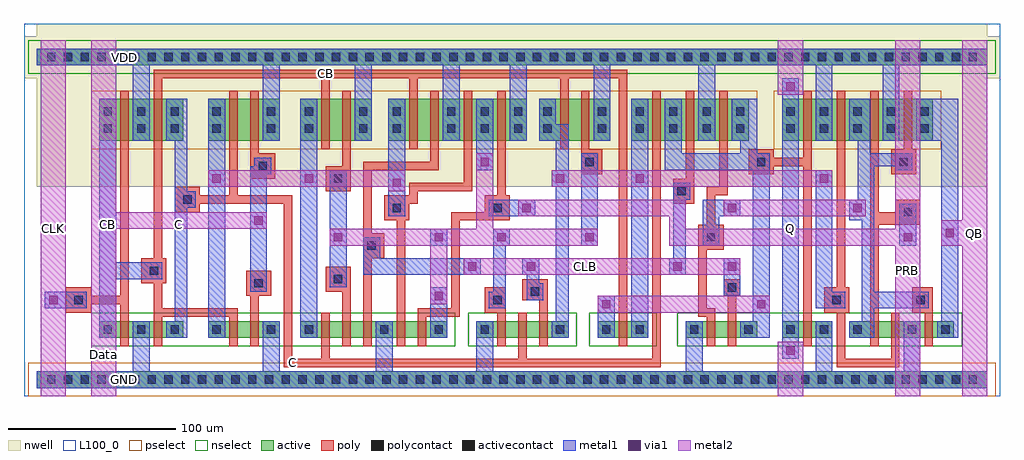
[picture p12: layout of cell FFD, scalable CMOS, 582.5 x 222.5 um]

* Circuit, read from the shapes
.subckt FFD C CB CLB CLK Data GND PRB Q QB VDD
M1 GND CLK CB GND nfet w=10u l=5u
M2 C CB GND GND nfet w=10u l=5u
M3 n1 CB n2 GND nfet w=10u l=5u
M4 GND Data n1 GND nfet w=10u l=5u
M5 n3 C n2 GND nfet w=10u l=5u
M6 n4 n5 n3 GND nfet w=10u l=5u
M7 GND CLB n4 GND nfet w=10u l=5u
M8 n6 n2 GND GND nfet w=10u l=5u
M9 n5 PRB n6 GND nfet w=10u l=5u
M10 n7 n5 GND GND nfet w=10u l=5u
M11 n8 C n7 GND nfet w=10u l=5u
M12 n9 CLB n8 GND nfet w=10u l=5u
M13 n9 CB n10 GND nfet w=10u l=5u
M14 n11 n12 GND GND nfet w=10u l=5u
M15 n10 CLB n11 GND nfet w=10u l=5u
M16 GND n10 Q GND nfet w=10u l=5u
M17 n13 PRB n12 GND nfet w=10u l=5u
M18 GND n9 n13 GND nfet w=10u l=5u
M19 QB n12 GND GND nfet w=10u l=5u
M20 VDD CLK CB VDD pfet w=25u l=5u
M21 C CB VDD VDD pfet w=25u l=5u
M22 n14 C n2 VDD pfet w=25u l=5u
M23 VDD Data n14 VDD pfet w=25u l=5u
M24 n15 CB n2 VDD pfet w=25u l=5u
M25 VDD n5 n15 VDD pfet w=25u l=5u
M26 n16 CB n2 VDD pfet w=25u l=5u
M27 VDD CLB n16 VDD pfet w=25u l=5u
M28 n5 n2 VDD VDD pfet w=25u l=5u
M29 VDD PRB n5 VDD pfet w=25u l=5u
M30 n17 CB n9 VDD pfet w=25u l=5u
M31 VDD n5 n17 VDD pfet w=25u l=5u
M32 n10 C n9 VDD pfet w=25u l=5u
M33 VDD CLB n10 VDD pfet w=25u l=5u
M34 n10 n12 VDD VDD pfet w=25u l=5u
M35 VDD n10 Q VDD pfet w=25u l=5u
M36 n12 n9 VDD VDD pfet w=25u l=5u
M37 VDD PRB n12 VDD pfet w=25u l=5u
M38 QB n12 VDD VDD pfet w=25u l=5u
.ends

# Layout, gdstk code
import gdstk
lib = gdstk.Library(unit=1e-6, precision=1e-09)
def R(c, l, rs):  # rectangles x0, y0, x1, y1
    for r in rs: c.add(gdstk.rectangle(r[:2], r[2:], *l))
def A(c, l, x, y, w, h, nx, ny, dx, dy):  # array of equal rectangles
    R(c, l, [(x+i*dx, y+j*dy, x+i*dx+w, y+j*dy+h) for i in range(nx) for j in range(ny)])
nwell = (42, 0)
active = (43, 0)
pselect = (44, 0)
nselect = (45, 0)
poly = (46, 0)
polycontact = (47, 0)
activecontact = (48, 0)
metal1 = (49, 0)
via1 = (50, 0)
metal2 = (51, 0)
L100_0 = (100, 0)

ffd = lib.new_cell('FFD')
R(ffd, nwell, [(7.5,125,575,190), (0,190,582.5,215), (7.5,215,575,222.5)])
R(ffd, active, [(7.5,5,575,15), (45,35,95,45), (110,35,152.5,45), (165,35,252.5,45), (270,35,325,45), (342.5,35,372.5,45), (395,35,437.5,45), (452.5,35,482.5,45), (492.5,35,555,45), (45,152.5,95,177.5), (110,152.5,152.5,177.5), (165,152.5,207.5,177.5), (217.5,152.5,300,177.5), (307.5,152.5,350,177.5), (362.5,152.5,432.5,177.5), (452.5,152.5,542.5,177.5), (7.5,197.5,575,207.5)])
R(ffd, pselect, [(2.5,0,580,20), (40,147.5,437.5,182.5), (447.5,147.5,547.5,182.5)])
R(ffd, nselect, [(40,30,257.5,50), (265,30,330,50), (337.5,30,377.5,50), (390,30,560,50), (2.5,192.5,580,212.5)])
R(ffd, poly, [(155,17.5,380,22.5), (485,17.5,522.5,22.5), (155,22.5,160,115), (177.5,22.5,182.5,50), (295,22.5,300,50), (375,22.5,380,182.5), (485,22.5,490,50), (517.5,22.5,522.5,50), (57.5,30,62.5,55), (77.5,30,82.5,47.5), (122.5,30,127.5,47.5), (135,30,140,60), (190,30,195,62.5), (202.5,30,207.5,82.5), (222.5,30,227.5,105), (235,30,240,47.5), (282.5,30,287.5,50), (307.5,30,312.5,57.5), (355,30,360,190), (407.5,30,412.5,47.5), (420,30,425,60), (465,30,470,137.5), (505,30,510,102.5), (537.5,30,542.5,50), (77.5,47.5,127.5,52.5), (235,47.5,260,52.5), (402.5,47.5,412.5,52.5), (25,50,40,55), (275,50,287.5,65), (477.5,50,492.5,65), (530,50,542.5,65), (77.5,52.5,82.5,67.5), (255,52.5,260,105), (402.5,52.5,407.5,87.5), (25,55,62.5,60), (297.5,57.5,312.5,70), (25,60,40,65), (57.5,60,62.5,182.5), (132.5,60,147.5,75), (417.5,60,427.5,70), (180,62.5,195,77.5), (485,65,490,182.5), (70,67.5,85,82.5), (77.5,82.5,82.5,190), (202.5,82.5,215,97.5), (402.5,87.5,417.5,102.5), (202.5,97.5,207.5,135), (407.5,102.5,412.5,120), (505,102.5,535,110), (215,105,230,115), (255,105,290,110), (90,110,105,115), (275,110,290,120), (505,110,510,182.5), (520,110,535,117.5), (90,115,160,120), (215,115,235,120), (387.5,115,400,130), (90,120,105,125), (122.5,120,127.5,182.5), (230,120,235,122.5), (282.5,120,287.5,182.5), (407.5,120,420,125), (180,122.5,195,137.5), (230,122.5,267.5,127.5), (415,125,420,182.5), (262.5,127.5,267.5,182.5), (135,130,150,145), (395,130,400,182.5), (332.5,132.5,345,147.5), (432.5,132.5,447.5,137.5), (517.5,132.5,532.5,147.5), (202.5,135,247.5,140), (190,137.5,195,182.5), (432.5,137.5,470,142.5), (242.5,140,247.5,182.5), (432.5,142.5,447.5,147.5), (465,142.5,470,182.5), (135,145,140,182.5), (177.5,147.5,182.5,190), (230,147.5,235,190), (320,147.5,325,190), (332.5,147.5,337.5,182.5), (525,147.5,530,182.5), (77.5,190,360,195)])
R(ffd, polycontact, [(30,55,35,60), (280,55,285,60), (482.5,55,487.5,60), (532.5,55,537.5,60), (302.5,60,307.5,65), (420,62.5,425,67.5), (137.5,65,142.5,70), (185,67.5,190,72.5), (75,72.5,80,77.5), (205,87.5,210,92.5), (407.5,92.5,412.5,97.5), (525,107.5,530,112.5), (220,110,225,115), (280,110,285,115), (95,115,100,120), (390,120,395,125), (185,127.5,190,132.5), (140,135,145,140), (335,137.5,340,142.5), (437.5,137.5,442.5,142.5), (522.5,137.5,527.5,142.5)])
A(ffd, activecontact, 13.75, 7.5, 5, 5, 56, 2, 10, 192.5)
A(ffd, activecontact, 47.5, 37.5, 5, 5, 3, 2, 20, 120)
A(ffd, activecontact, 365, 37.5, 5, 5, 3, 1, 32.5, 0)
A(ffd, activecontact, 455, 37.5, 5, 5, 3, 1, 20, 0)
A(ffd, activecontact, 252.5, 157.5, 5, 5, 3, 2, 20, 10)
A(ffd, activecontact, 365, 157.5, 5, 5, 4, 2, 20, 10)
A(ffd, activecontact, 455, 157.5, 5, 5, 5, 2, 20, 10)
A(ffd, activecontact, 47.5, 167.5, 5, 5, 3, 1, 20, 0)
R(ffd, activecontact, [(112.5,37.5,117.5,42.5), (145,37.5,150,42.5), (167.5,37.5,172.5,42.5), (212.5,37.5,217.5,42.5), (245,37.5,250,42.5), (272.5,37.5,277.5,42.5), (317.5,37.5,322.5,42.5), (345,37.5,350,42.5), (527.5,37.5,532.5,42.5), (547.5,37.5,552.5,42.5), (112.5,157.5,117.5,162.5), (145,157.5,150,162.5), (167.5,157.5,172.5,162.5), (200,157.5,205,162.5), (220,157.5,225,162.5), (310,157.5,315,162.5), (342.5,157.5,347.5,162.5), (112.5,167.5,117.5,172.5), (145,167.5,150,172.5), (167.5,167.5,172.5,172.5), (200,167.5,205,172.5), (220,167.5,225,172.5), (310,167.5,315,172.5), (342.5,167.5,347.5,172.5)])
R(ffd, metal1, [(7.5,5,575,15), (65,15,75,45), (142.5,15,152.5,45), (210,15,220,45), (270,15,280,45), (395,15,405,45), (472.5,15,482.5,45), (525,15,535,45), (452.5,22.5,462.5,190), (45,35,55,70), (85,35,97.5,45), (110,35,120,177.5), (165,35,175,177.5), (242.5,35,252.5,65), (315,35,325,45), (342.5,35,352.5,60), (362.5,35,372.5,177.5), (427.5,35,445,45), (492.5,35,507.5,45), (545,35,557.5,45), (90,45,97.5,112.5), (317.5,45,325,125), (435,45,445,135), (500,45,507.5,52.5), (547.5,45,557.5,152.5), (12.5,52.5,37.5,62.5), (277.5,52.5,287.5,62.5), (472.5,52.5,490,62.5), (500,52.5,540,62.5), (300,57.5,310,67.5), (417.5,60,427.5,82.5), (135,62.5,145,132.5), (280,62.5,287.5,90), (472.5,62.5,482.5,135), (500,62.5,507.5,105), (182.5,65,192.5,135), (300,67.5,307.5,72.5), (45,70,82.5,80), (202.5,72.5,272.5,82.5), (297.5,72.5,307.5,82.5), (385,72.5,395,82.5), (45,80,55,177.5), (202.5,82.5,212.5,95), (387.5,82.5,395,117.5), (242.5,90,252.5,100), (280,90,290,100), (332.5,90,342.5,145), (405,90,415,107.5), (522.5,90,532.5,115), (492.5,105,507.5,117.5), (217.5,107.5,227.5,177.5), (277.5,107.5,305,117.5), (405,107.5,427.5,117.5), (90,112.5,102.5,122.5), (387.5,117.5,397.5,127.5), (497.5,117.5,507.5,137.5), (90,122.5,97.5,152.5), (315,125,325,135), (135,132.5,147.5,137.5), (270,135,280,177.5), (317.5,135,325,152.5), (382.5,135,445,145), (520,135,530,137.5), (137.5,137.5,147.5,142.5), (497.5,137.5,530,145), (382.5,145,392.5,177.5), (427.5,145,437.5,152.5), (497.5,145,505,152.5), (65,152.5,75,197.5), (85,152.5,97.5,177.5), (142.5,152.5,152.5,197.5), (197.5,152.5,207.5,197.5), (250,152.5,260,197.5), (290,152.5,300,197.5), (307.5,152.5,325,162.5), (340,152.5,350,197.5), (402.5,152.5,412.5,197.5), (422.5,152.5,437.5,177.5), (472.5,152.5,482.5,197.5), (492.5,152.5,505,177.5), (512.5,152.5,522.5,197.5), (532.5,152.5,557.5,177.5), (307.5,162.5,317.5,177.5), (7.5,197.5,575,207.5)])
R(ffd, via1, [(455,25,460,30), (345,52.5,350,57.5), (437.5,52.5,442.5,57.5), (15,55,20,60), (245,57.5,250,62.5), (265,75,270,80), (300,75,305,80), (387.5,75,392.5,80), (420,75,425,80), (185,92.5,190,97.5), (245,92.5,250,97.5), (282.5,92.5,287.5,97.5), (335,92.5,340,97.5), (525,92.5,530,97.5), (550,95,555,100), (137.5,102.5,142.5,107.5), (297.5,110,302.5,115), (420,110,425,115), (495,110,500,115), (220,125,225,130), (112.5,127.5,117.5,132.5), (167.5,127.5,172.5,132.5), (317.5,127.5,322.5,132.5), (365,127.5,370,132.5), (475,127.5,480,132.5), (272.5,137.5,277.5,142.5), (455,182.5,460,187.5)])
R(ffd, metal2, [(10,0,25,212.5), (40,0,55,100), (450,0,465,32.5), (520,0,535,90), (560,0,575,90), (342.5,50,445,60), (242.5,55,252.5,90), (262.5,72.5,427.5,82.5), (182.5,90,342.5,100), (385,90,535,100), (547.5,90,575,105), (40,100,145,110), (270,100,280,145), (385,100,395,107.5), (520,100,535,212.5), (560,105,575,212.5), (295,107.5,395,117.5), (417.5,107.5,502.5,117.5), (40,110,55,212.5), (217.5,122.5,227.5,125), (110,125,227.5,135), (315,125,482.5,135), (450,180,465,212.5)])
R(ffd, L100_0, [(0,0,582.5,222.5)])
ffd.add(gdstk.Label('GND', (60,10), layer=49, texttype=1))
ffd.add(gdstk.Label('VDD', (60,202.5), layer=49, texttype=1))
ffd.add(gdstk.Label('Q', (457.5,100), layer=49, texttype=1))
ffd.add(gdstk.Label('CB', (50,102.5), layer=49, texttype=1))
ffd.add(gdstk.Label('C', (92.5,102.5), layer=49, texttype=1))
ffd.add(gdstk.Label('PRB', (527.5,75), layer=51, texttype=1))
ffd.add(gdstk.Label('QB', (567.5,97.5), layer=51, texttype=1))
ffd.add(gdstk.Label('CLK', (17.5,100), layer=51, texttype=1))
ffd.add(gdstk.Label('Data', (47.5,25), layer=51, texttype=1))
ffd.add(gdstk.Label('CLB', (335,77.5), layer=51, texttype=1))
ffd.add(gdstk.Label('CB', (180,192.5), layer=46, texttype=1))
ffd.add(gdstk.Label('C', (160,20), layer=46, texttype=1))

lib.write_gds('FFD.gds')
